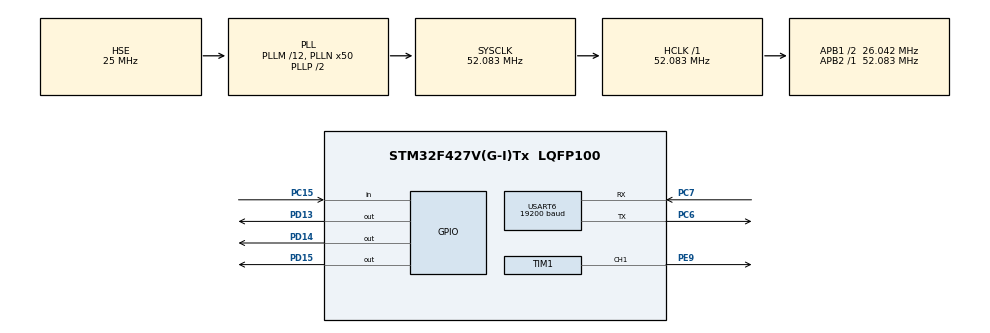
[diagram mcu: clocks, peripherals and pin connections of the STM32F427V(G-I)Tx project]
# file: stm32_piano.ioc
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Mcu.Family=STM32F4
Mcu.Name=STM32F427V(G-I)Tx
Mcu.Package=LQFP100
NVIC.PriorityGroup=NVIC_PRIORITYGROUP_4
NVIC.USART6_IRQn=true\:0\:0\:false\:false\:true\:true\:true\:true
PA13.Mode=JTAG_5_pins
PA13.Signal=SYS_JTMS-SWDIO
PA14.Mode=JTAG_5_pins
PA14.Signal=SYS_JTCK-SWCLK
PA15.Mode=JTAG_5_pins
PA15.Signal=SYS_JTDI
PB3.Mode=JTAG_5_pins
PB3.Signal=SYS_JTDO-SWO
PB4.Mode=JTAG_5_pins
PB4.Signal=SYS_JTRST
PC15/OSC32_OUT.Signal=GPIO_Input
PC6.Mode=Asynchronous
PC6.Signal=USART6_TX
PC7.Mode=Asynchronous
PC7.Signal=USART6_RX
PD13.Signal=GPIO_Output
PD14.Signal=GPIO_Output
PD15.Signal=GPIO_Output
PE9.Signal=S_TIM1_CH1
PH0/OSC_IN.Mode=HSE-External-Oscillator
PH0/OSC_IN.Signal=RCC_OSC_IN
PH1/OSC_OUT.Mode=HSE-External-Oscillator
PH1/OSC_OUT.Signal=RCC_OSC_OUT
ProjectManager.HeapSize=0x200
ProjectManager.StackSize=0x400
ProjectManager.TargetToolchain=STM32CubeIDE
RCC.48MHZClocksFreq_Value=26041666.666666664
RCC.AHBFreq_Value=52083333.33333333
RCC.APB1CLKDivider=RCC_HCLK_DIV2
RCC.APB1Freq_Value=26041666.666666664
RCC.APB1TimFreq_Value=52083333.33333333
RCC.APB2Freq_Value=52083333.33333333
RCC.APB2TimFreq_Value=52083333.33333333
RCC.CortexFreq_Value=52083333.33333333
RCC.EnableLSE-ClockTree=true
RCC.HCLKFreq_Value=52083333.33333333
RCC.HSE_VALUE=25000000
RCC.HSI_VALUE=16000000
RCC.LSE_VALUE=32768
RCC.PLLI2SN=50
RCC.PLLM=12
RCC.PLLN=50
RCC.PLLSAIN=50
RCC.PLLSourceVirtual=RCC_PLLSOURCE_HSE
RCC.SYSCLKFreq_VALUE=52083333.33333333
RCC.SYSCLKSource=RCC_SYSCLKSOURCE_PLLCLK
RCC.VCOOutputFreq_Value=104166666.66666666
SH.S_TIM1_CH1.0=TIM1_CH1,PWM Generation1 CH1
TIM1.Channel-PWM\ Generation1\ CH1=TIM_CHANNEL_1
TIM1.OCMode_PWM-PWM\ Generation1\ CH1=TIM_OCMODE_PWM2
USART6.BaudRate=19200
USART6.VirtualMode=VM_ASYNC
VP_TIM1_VS_ClockSourceINT.Mode=Internal
board=custom

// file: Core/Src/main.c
/* USER CODE BEGIN Header */
/**
  ******************************************************************************
  * @file           : main.c
  * @brief          : Main program body
  ******************************************************************************
  * @attention
  *
  * Copyright (c) 2024 STMicroelectronics.
  * All rights reserved.
  *
  * This software is licensed under terms that can be found in the LICENSE file
  * in the root directory of this software component.
  * If no LICENSE file comes with this software, it is provided AS-IS.
  *
  ******************************************************************************
  */
/* USER CODE END Header */
#include "main.h"
#include "tim.h"
#include "usart.h"
#include "gpio.h"

/* USER CODE BEGIN Includes */

#include "stdio.h"
#include "inttypes.h"
#include "string.h"
#include "math.h"
#include "user/async.h"
#include "user/messenger.h"
#include "user/util.h"
#include "user/sound.h"
#include "user/tracks.h"

/* USER CODE END Includes */

/* USER CODE BEGIN PD */

#define NEWLINE '\r'

/* USER CODE END PD */

/* USER CODE BEGIN PV */

const char *hello_msg = "\r\nWelcome to the programmable musical box!\r\nWrite 1-4 to play built-in tracks. Write 5 to play your custom track. Write Enter to create custom track.\r\n";
const char *track_choosed_msg = "You choosed track: ";
const char *creation_mode_msg = "You've opened creation mode. Write enter to finish creation. Write 0-8 to choose octave. Write space to make pause. Write to append note at the track:\r\n"
  "a to C\r\n"
  "w to C#\r\n"
  "s to D\r\n"
  "e to C#\r\n"
  "d to E\r\n"
  "f to F\r\n"
  "t to F#\r\n"
  "g to G\r\n"
  "y to G#\r\n"
  "h to A\r\n"
  "u to A#\r\n"
  "j to B\r\n";
const char *track_created_msg = "You created a track!\r\n";
const char *octave_changed_msg = "Base octave changed to ";
const char *newline_msg = "\r\n";

/* USER CODE END PV */

void SystemClock_Config(void);
/* USER CODE BEGIN PFP */

extern void initialise_monitor_handles(void);

/* USER CODE END PFP */

/* USER CODE BEGIN 0 */

async_def(create_track, {
  uint8_t base_octave;
  struct Sample current_sample;
  struct AsyncState_messenger_read m;
  struct AsyncState_messenger_write w;
  struct AsyncState_sound_play_pitch s;
});
async_impl(create_track) async_body({
  start_fn();
  await(1, w, messenger_write, creation_mode_msg, strlen(creation_mode_msg));
  track_custom.length = 0;
  fn_state->base_octave = 4;
  do {
    await(2, m, messenger_read);
    if (fn_state->m.ans >= '0' && fn_state->m.ans <= '8') {
      fn_state->base_octave = fn_state->m.ans - '0';
      await(3, w, messenger_write, octave_changed_msg, strlen(octave_changed_msg));
      await(4, w, messenger_write, &fn_state->m.ans, 1);
      await(5, w, messenger_write, newline_msg, strlen(newline_msg));
    } else if (fn_state->m.ans == NEWLINE) {
      end_fn(6);
    } else if (fn_state->m.ans == ' ') {
      fn_state->current_sample.is_zero = true;
      fn_state->current_sample.pitch.note = A;
      fn_state->current_sample.pitch.octave = 4;
      fn_state->current_sample.duration_modifier = 1.;
      track_custom.length++;
    } else {
      enum Note note;
      switch (fn_state->m.ans) {
      case 'a':
        note = C;
        break;
      case 'w':
        note = Cd;
        break;
      case 's':
        note = D;
        break;
      case 'e':
        note = Dd;
        break;
      case 'd':
        note = E;
        break;
      case 'f':
        note = F;
        break;
      case 't':
        note = Fd;
        break;
      case 'g':
        note = G;
        break;
      case 'y':
        note = Gd;
        break;
      case 'h':
        note = A;
        break;
      case 'u':
        note = Ad;
        break;
      case 'j':
        note = B;
      }
      fn_state->current_sample.is_zero = false;
      fn_state->current_sample.pitch.note = note;
      fn_state->current_sample.pitch.octave = fn_state->base_octave;
      fn_state->current_sample.duration_modifier = 1.;
      track_custom.samples[track_custom.length] = fn_state->current_sample;
      track_custom.length++;
      await(7, s, sound_play_pitch, track_custom.adsr, fn_state->current_sample.pitch, track_custom.base_note_duration);
    }
  } while (fn_state->m.ans != NEWLINE);
  end_fn(8);
})

async_def(player_control_routine, {
  struct Track **track;
  struct AsyncState_messenger_read m;
  struct AsyncState_messenger_write w;
  struct AsyncState_create_track c;
});
async_impl(player_control_routine) async_body({
  start_fn();
  while (1) {
    await(1, m, messenger_read);
    if (fn_state->m.ans >= '1' && fn_state->m.ans <= '5') {
      if (fn_state->m.ans == '1') {
        *fn_state->track = &track_fade;
      } else if (fn_state->m.ans == '2') {
        *fn_state->track = &track_kuznechik;
      } else if (fn_state->m.ans == '3') {
        *fn_state->track = &track_megalovania;
      } else if (fn_state->m.ans == '4') {
        *fn_state->track = &track_white_roses;
      } else if (fn_state->m.ans == '5') {
        *fn_state->track = &track_custom;
      }
      await(2, w, messenger_write, track_choosed_msg, strlen(track_choosed_msg));
      await(3, w, messenger_write, (*fn_state->track)->name, strlen((*fn_state->track)->name));
      await(4, w, messenger_write, newline_msg, strlen(newline_msg));
    } else if (fn_state->m.ans == NEWLINE) {
      *fn_state->track = NULL;
      await(5, c, create_track);
      *fn_state->track = &track_custom;
      await(6, w, messenger_write, track_created_msg, strlen(track_created_msg));
    }
    yield(7);
  }
})

async_def(player_routine, {
  struct Track **track;
  struct Track *current_track;
  struct AsyncState_sound_play_samples s;
});
async_impl(player_routine) async_body({
  start_fn();
  while (1) {
    while (*fn_state->track == NULL) {
      yield(1);
    }
    fn_state->current_track = *fn_state->track;
    await_until(
      2,
      *fn_state->track != fn_state->current_track,
      s,
      sound_play_samples,
      fn_state->current_track->adsr,
      fn_state->current_track->samples,
      fn_state->current_track->length
    );
    sound_volume_off();
    yield(3);
  }
})

async_def(async_main, {
  struct Track *track;
  struct AsyncState_player_routine p;
  struct AsyncState_player_control_routine c;
});
async_impl(async_main) async_body({
  start_fn();
  sound_volume_off();
  fn_state->track = NULL;
  fn_state->p.track = &fn_state->track;
  fn_state->c.track = &fn_state->track;
  while (1) {
    await_two_routines(1, p, player_routine, c, player_control_routine);
  }
})

/* USER CODE END 0 */

int main(void)
{
  /* USER CODE BEGIN 1 */

  initialise_monitor_handles();

  /* USER CODE END 1 */

  /* MCU Configuration--------------------------------------------------------*/

  /* Reset of all peripherals, Initializes the Flash interface and the Systick. */
  HAL_Init();

  /* Configure the system clock */
  SystemClock_Config();

  /* Initialize all configured peripherals */
  MX_GPIO_Init();
  MX_USART6_UART_Init();
  MX_TIM1_Init();
  /* USER CODE BEGIN 2 */

  HAL_TIM_PWM_Start(&htim1, TIM_CHANNEL_1);

  printf("Program started!\n");

  block_on(m, messenger_write, hello_msg, strlen(hello_msg));

  /* USER CODE END 2 */

  /* Infinite loop */
  while (1)
  {

    /* USER CODE BEGIN 3 */

    block_on(m, async_main);
  }
  printf("Program end!\n");
  /* USER CODE END 3 */
}

void SystemClock_Config(void)
{
  RCC_OscInitTypeDef RCC_OscInitStruct = {0};
  RCC_ClkInitTypeDef RCC_ClkInitStruct = {0};

  /** Configure the main internal regulator output voltage
  */
  __HAL_RCC_PWR_CLK_ENABLE();
  __HAL_PWR_VOLTAGESCALING_CONFIG(PWR_REGULATOR_VOLTAGE_SCALE3);

  /** Initializes the RCC Oscillators according to the specified parameters
  * in the RCC_OscInitTypeDef structure.
  */
  RCC_OscInitStruct.OscillatorType = RCC_OSCILLATORTYPE_HSE;
  RCC_OscInitStruct.HSEState = RCC_HSE_ON;
  RCC_OscInitStruct.PLL.PLLState = RCC_PLL_ON;
  RCC_OscInitStruct.PLL.PLLSource = RCC_PLLSOURCE_HSE;
  RCC_OscInitStruct.PLL.PLLM = 12;
  RCC_OscInitStruct.PLL.PLLN = 50;
  RCC_OscInitStruct.PLL.PLLP = RCC_PLLP_DIV2;
  RCC_OscInitStruct.PLL.PLLQ = 4;
  if (HAL_RCC_OscConfig(&RCC_OscInitStruct) != HAL_OK)
  {
    Error_Handler();
  }

  /** Initializes the CPU, AHB and APB buses clocks
  */
  RCC_ClkInitStruct.ClockType = RCC_CLOCKTYPE_HCLK|RCC_CLOCKTYPE_SYSCLK
                              |RCC_CLOCKTYPE_PCLK1|RCC_CLOCKTYPE_PCLK2;
  RCC_ClkInitStruct.SYSCLKSource = RCC_SYSCLKSOURCE_PLLCLK;
  RCC_ClkInitStruct.AHBCLKDivider = RCC_SYSCLK_DIV1;
  RCC_ClkInitStruct.APB1CLKDivider = RCC_HCLK_DIV2;
  RCC_ClkInitStruct.APB2CLKDivider = RCC_HCLK_DIV1;

  if (HAL_RCC_ClockConfig(&RCC_ClkInitStruct, FLASH_LATENCY_1) != HAL_OK)
  {
    Error_Handler();
  }
}

/* USER CODE BEGIN 4 */

void HAL_UART_RxCpltCallback(UART_HandleTypeDef *huart) {
  if (huart == &huart6) {
    messenger_read_signal = true;
	}
}

void HAL_UART_TxCpltCallback(UART_HandleTypeDef *huart) {
  if (huart == &huart6) {
	}
}

/* USER CODE END 4 */

void Error_Handler(void)
{
  __disable_irq();
  while (1)
  {
  }
}
